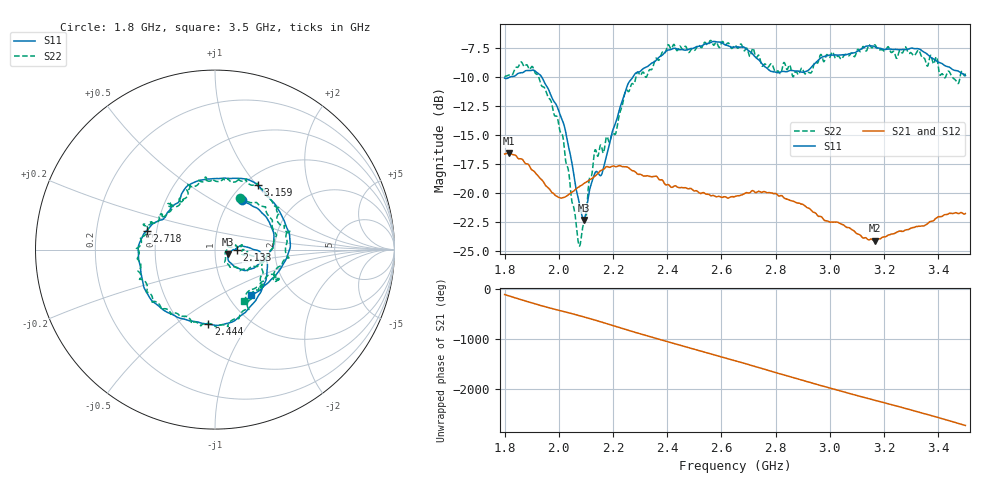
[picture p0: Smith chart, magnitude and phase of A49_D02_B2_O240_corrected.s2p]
! Created with skrf 1.9.0 (http://scikit-rf.org).
# Hz S RI R 50.0
!freq ReS11 ImS11 ReS21 ImS21 ReS12 ImS12 ReS22 ImS22
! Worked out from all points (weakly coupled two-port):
!   1601 points, 1.8 GHz to 3.5 GHz, reference 50 ohm
!   highest |S21| = -16.56 dB at 1.817 GHz (marker M1); lowest = -24.1 dB at 3.165 GHz (marker M2)
!   lowest |S11| = -22.3 dB at 2.092 GHz (marker M3), VSWR 1.17, Z = 57.7 - j3 ohm
!   |S11| at or under -10 dB: start of sweep to 1.817 GHz; 1.938 GHz to 2.272 GHz (334.6 MHz wide, 15.9 % of centre)
!   |S22| runs from -24.6 to -6.8 dB; largest |S21 - S12| = 0.0025
!   S11 on the Smith chart (normalised r, x): 1.8 GHz: 1.12, +0.69; 2.133 GHz: 1.28, -0.00; 2.444 GHz: 0.66, -0.67; 2.718 GHz: 0.44, +0.11; 3.159 GHz: 1.14, +1.02; 3.5 GHz: 1.27, -0.72
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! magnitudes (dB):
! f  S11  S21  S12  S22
! 1.8 GHz  -10.1  -16.6  -16.6  -9.9
! 1.817 GHz  -10.0  -16.6  -16.6  -9.8
! 1.902 GHz  -9.4  -18.0  -18.0  -9.1
! 1.967 GHz  -11.3  -19.7  -19.8  -11.9
! 2.021 GHz  -14.3  -20.4  -20.4  -16.3
! 2.071 GHz  -20.4  -19.5  -19.5  -24.1
! 2.084 GHz  -21.8  -19.3  -19.3  -23.7
! 2.092 GHz  -22.3  -19.2  -19.2  -22.6
! 2.133 GHz  -18.3  -18.6  -18.6  -16.4
! 2.161 GHz  -18.2  -18.0  -17.9  -16.4
! 2.209 GHz  -14.0  -17.7  -17.7  -14.9
! 2.259 GHz  -10.4  -17.9  -17.9  -11.2
! 2.367 GHz  -8.3  -18.8  -18.7  -8.5
! 2.444 GHz  -7.6  -19.5  -19.5  -7.4
! 2.65 GHz  -7.4  -20.3  -20.3  -7.2
! 2.718 GHz  -8.1  -19.8  -19.8  -7.5
! 2.79 GHz  -9.5  -20.0  -20.1  -9.0
! 2.934 GHz  -9.1  -21.6  -21.5  -9.5
! 3.159 GHz  -7.3  -24.1  -24.0  -7.4
! 3.165 GHz  -7.3  -24.1  -24.1  -7.2
! 3.217 GHz  -7.5  -23.6  -23.6  -7.4
! 3.5 GHz  -9.8  -21.8  -21.8  -9.7
